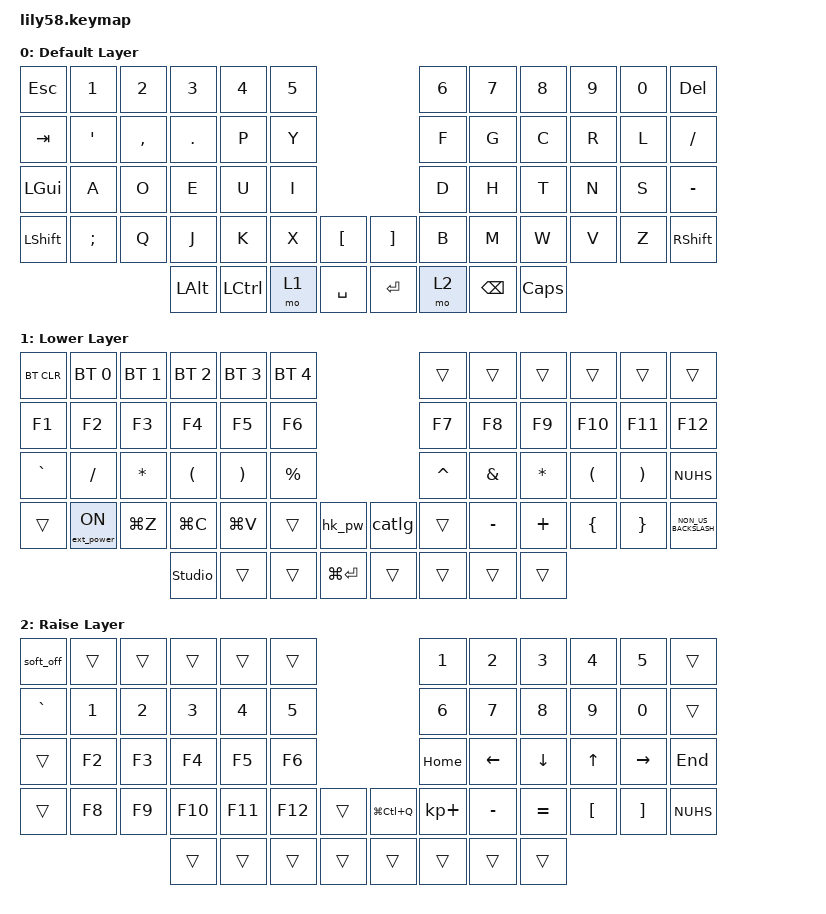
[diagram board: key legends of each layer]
/*
 * Copyright (c) 2020 The ZMK Contributors
 *
 * SPDX-License-Identifier: MIT
 */

#include <behaviors.dtsi>
#include <dt-bindings/zmk/bt.h>
#include <dt-bindings/zmk/ext_power.h>
#include <dt-bindings/zmk/keys.h>

/ {
    macros {
        catlg: catlg {
            compatible = "zmk,behavior-macro";
            #binding-cells = <0>;
            bindings = <&kp LS(D) &kp LS(A) &kp UNDER &kp N0 &kp N0 &kp N0 &kp N0 &kp N0 &kp N0 &kp N0>;
            label = "CATLG";
        };

        hk_pw: hk_pw {
            compatible = "zmk,behavior-macro";
            #binding-cells = <0>;
            bindings = <&kp A &kp O &kp E &kp U &kp I &kp LS(D) &kp H &kp T &kp N &kp S &kp N1 &kp N2 &kp N3 &kp N4 &kp N5 &kp EXCLAMATION >;
        };
    };

    keymap {
        compatible = "zmk,keymap";

        default_layer {
            display-name = "Default Layer";

            // ------------------------------------------------------------------------------------------------------------
            // |  ESC  |  1  |  2  |  3   |  4   |  5   |                   |  6   |  7    |  8    |  9   |   0   |  DEL  |
            // |  TAB  |  Q  |  W  |  E   |  R   |  T   |                   |  Y   |  U    |  I    |  O   |   P   |   -   |
            // |  CMD  |  A  |  S  |  D   |  F   |  G   |                   |  H   |  J    |  K    |  L   |   ;   |   '   |
            // | SHIFT |  Z  |  X  |  C   |  V   |  B   |   "["  |  |  "]"  |  N   |  M    |  ,    |  .   |   /   | SHIFT |
            //                     | OPT  | CTRL | LOWER|  SPACE |  | ENTER | RAISE| BSPC  | CAPS  |

            bindings = <
&kp ESC    &kp N1         &kp N2     &kp N3      &kp N4    &kp N5                         &kp N6  &kp N7    &kp N8        &kp N9  &kp N0  &kp DELETE
&kp TAB    &kp SQT        &kp COMMA  &kp PERIOD  &kp P     &kp Y                          &kp F   &kp G     &kp C         &kp R   &kp L   &kp SLASH
&kp LGUI  &kp A          &kp O      &kp E       &kp U     &kp I                          &kp D   &kp H     &kp T         &kp N   &kp S   &kp MINUS
&kp LSHFT  &kp SEMICOLON  &kp Q      &kp J       &kp K     &kp X   &kp LBKT     &kp RBKT  &kp B   &kp M     &kp W         &kp V   &kp Z   &kp RSHFT
                                     &kp LALT    &kp LCTRL &mo 1   &kp SPACE    &kp RET   &mo 2   &kp BSPC  &kp CAPSLOCK
            >;
        };

        lower_layer {
            display-name = "Lower Layer";

            // ------------------------------------------------------------------------------------------------------------
            // | BTCLR | BT1 | BT2 |  BT3 |  BT4 |  BT5 |                   |      |       |       |      |       |       |
            // |  F1   |  F2 |  F3 |  F4  |  F5  |  F6  |                   |  F7  |  F8   |  F9   |  F10 |  F11  |  F12  |
            // |   `   |  /  |  *  |  (   |  )   |  %   |                   |  ^   |  &    |  *    |  (   |   )   |   ~   |
            // |       |     |     | COPY |PASTE |      | PW     |   |CATLG |  _   |  +    |  {   |   }   |   \   |
            //                     |      |      |      |        |   |      |      |       |       |

            bindings = <
&bt BT_CLR  &bt BT_SEL 0      &bt BT_SEL 1  &bt BT_SEL 2          &bt BT_SEL 3           &bt BT_SEL 4                        &trans     &trans     &trans     &trans    &trans    &trans
&kp F1      &kp F2            &kp F3        &kp F4                &kp F5                 &kp F6                              &kp F7     &kp F8     &kp F9     &kp F10   &kp F11   &kp F12
&kp GRAVE   &kp SLASH         &kp ASTERISK  &kp LEFT_PARENTHESIS  &kp RIGHT_PARENTHESIS  &kp PRCNT                           &kp CARET  &kp AMPS   &kp ASTRK  &kp LPAR  &kp RPAR  &kp NUHS
&trans      &ext_power EP_ON  &kp LG(Z)     &kp LG(C)             &kp LG(V)              &trans  &hk_pw    &catlg  &trans     &kp MINUS  &kp PLUS   &kp LBRC  &kp RBRC  &kp NON_US_BACKSLASH
                                            &studio_unlock        &trans            &trans         &kp LG(RET)       &trans  &trans     &trans     &trans
            >;

        };

        raise_layer {
            display-name = "Raise Layer";

            // ------------------------------------------------------------------------------------------------------------
            // |       |     |     |      |      |      |                   |      |       |       |      |       |       |
            // |   `   |  1  |  2  |  3   |  4   |  5   |                   |  6   |   7   |   8   |  9   |   0   |       |
            // |       |  F2 |  F3 |  F4  |  F5  |  F6  |                   | home |   <-  |   v   |  ^   |  ->   |  end  |
            // |       |  F8 |  F9 |  F10 |  F11 |  F12 |        |  | LOCK  |  +   |   -   |   =   |  [   |   ]   |   \   |
            //                     |      |      |      |        |  |       |      |       |       |

            bindings = <
&soft_off  &trans  &trans  &trans   &trans   &trans                        &kp NUMBER_1  &kp NUMBER_2  &kp NUMBER_3  &kp NUMBER_4  &kp N5     &trans
&kp GRAVE  &kp N1  &kp N2  &kp N3   &kp N4   &kp N5                        &kp N6        &kp N7        &kp N8        &kp N9        &kp N0     &trans
&trans     &kp F2  &kp F3  &kp F4   &kp F5   &kp F6                        &kp HOME      &kp LEFT      &kp DOWN      &kp UP        &kp RIGHT  &kp END
&trans     &kp F8  &kp F9  &kp F10  &kp F11  &kp F12  &trans    &kp LG(LC(Q))  &kp KP_PLUS   &kp MINUS     &kp EQUAL     &kp LBKT      &kp RBKT   &kp NUHS
                           &trans   &trans   &trans   &trans    &trans     &trans        &trans        &trans
            >;

        };
    };
};

